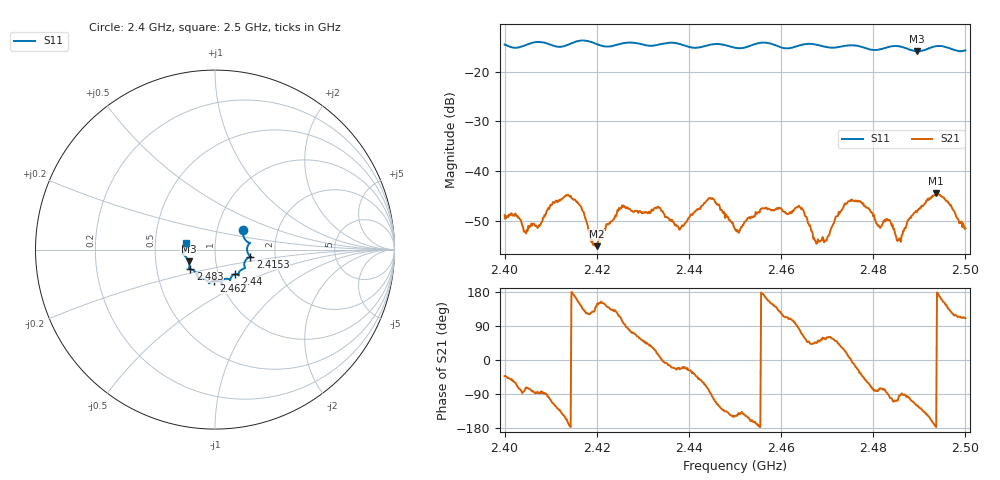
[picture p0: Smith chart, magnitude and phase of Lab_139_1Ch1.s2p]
# Hz S RI R 50
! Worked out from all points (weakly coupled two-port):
!   601 points, 2.4 GHz to 2.5 GHz, reference 50 ohm
!   highest |S21| = -44.55 dB at 2.4937 GHz (marker M1); lowest = -55.2 dB at 2.42 GHz (marker M2)
!   lowest |S11| = -15.9 dB at 2.4895 GHz (marker M3), VSWR 1.38, Z = 36.9 - j4.98 ohm
!   |S11| at or under -10 dB: start of sweep to end of sweep
!   S12 and S22 are empty: the file has one direction only
!   S11 on the Smith chart (normalised r, x): 2.4 GHz: 1.33, +0.29; 2.4153 GHz: 1.48, -0.12; 2.44 GHz: 1.20, -0.34; 2.462 GHz: 0.93, -0.33; 2.483 GHz: 0.74, -0.17; 2.5 GHz: 0.72, +0.06
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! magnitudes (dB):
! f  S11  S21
! 2.4 GHz  -14.5  -48.9
! 2.4047 GHz  -14.6  -52.6
! 2.4153 GHz  -14.0  -45.8
! 2.4167 GHz  -13.7  -47.4
! 2.42 GHz  -14.4  -55.2
! 2.4253 GHz  -14.3  -47.5
! 2.4333 GHz  -14.5  -47.2
! 2.4378 GHz  -14.4  -51.7
! 2.44 GHz  -15.0  -49.5
! 2.4448 GHz  -14.5  -45.5
! 2.45 GHz  -15.1  -51.8
! 2.462 GHz  -15.2  -48.6
! 2.4643 GHz  -14.6  -47.7
! 2.4667 GHz  -14.4  -52.1
! 2.4698 GHz  -15.0  -54.1
! 2.4752 GHz  -14.7  -46.1
! 2.483 GHz  -15.1  -49.7
! 2.4833 GHz  -15.0  -49.9
! 2.4855 GHz  -14.9  -54.0
! 2.4895 GHz  -15.9  -48.3
! 2.4937 GHz  -14.8  -44.5
! 2.5 GHz  -15.7  -51.6
